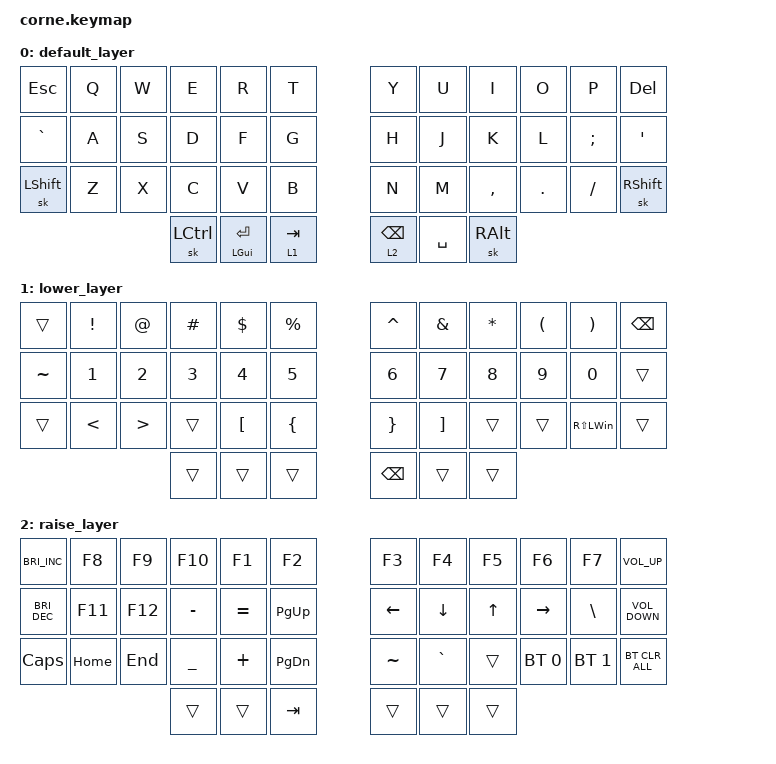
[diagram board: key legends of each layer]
/*
 * Copyright 2024 Michał Minarowski (@n3oney)
 * 
 * Originally created for QMK by Mark Stosberg (@markstos)
 * 
 * SPDX-License-Identifier: GPL-2.0-or-later
 */

#include <behaviors.dtsi>
#include <dt-bindings/zmk/bt.h>
#include <dt-bindings/zmk/keys.h>

/ {
    combos { compatible = "zmk,combos"; };

    keymap {
        compatible = "zmk,keymap";

        default_layer {
            bindings = <
&kp ESCAPE  &kp Q  &kp W  &kp E      &kp R               &kp T        &kp Y            &kp U      &kp I          &kp O    &kp P          &kp DELETE
&kp GRAVE   &kp A  &kp S  &kp D      &kp F               &kp G        &kp H            &kp J      &kp K          &kp L    &kp SEMICOLON  &kp SINGLE_QUOTE
&sk LSHFT   &kp Z  &kp X  &kp C      &kp V               &kp B        &kp N            &kp M      &kp COMMA      &kp DOT  &kp FSLH       &sk RIGHT_SHIFT
                          &sk LCTRL  &mt LEFT_GUI ENTER  &lt 1 TAB    &lt 2 BACKSPACE  &kp SPACE  &sk RIGHT_ALT
            >;
        };

        lower_layer {
            bindings = <
&trans     &kp EXCLAMATION  &kp AT_SIGN       &kp POUND     &kp DOLLAR        &kp PERCENT       &kp CARET        &kp AMPERSAND      &kp ASTERISK  &kp LEFT_PARENTHESIS  &kp RIGHT_PARENTHESIS  &kp BSPC
&kp TILDE  &kp NUMBER_1     &kp NUMBER_2      &kp NUMBER_3  &kp NUMBER_4      &kp NUMBER_5      &kp NUMBER_6     &kp NUMBER_7       &kp NUMBER_8  &kp NUMBER_9          &kp NUMBER_0           &trans
&trans     &kp LT           &kp GREATER_THAN  &trans        &kp LEFT_BRACKET  &kp LEFT_BRACE    &kp RIGHT_BRACE  &kp RIGHT_BRACKET  &trans        &trans                &kp RS(LEFT_WIN)       &trans
                                              &trans        &trans            &trans            &kp BACKSPACE    &trans             &trans
            >;
        };

        raise_layer {
            bindings = <
&kp C_BRIGHTNESS_INC  &kp F8    &kp F9   &kp F10         &kp F1     &kp F2         &kp F3     &kp F4     &kp F5        &kp F6        &kp F7         &kp C_VOLUME_UP
&kp C_BRIGHTNESS_DEC  &kp F11   &kp F12  &kp MINUS       &kp EQUAL  &kp PAGE_UP    &kp LEFT   &kp DOWN   &kp UP_ARROW  &kp RIGHT     &kp BACKSLASH  &kp C_VOLUME_DOWN
&kp CLCK              &kp HOME  &kp END  &kp UNDERSCORE  &kp PLUS   &kp PG_DN      &kp TILDE  &kp GRAVE  &trans        &bt BT_SEL 0  &bt BT_SEL 1   &bt BT_CLR_ALL
                                         &trans          &trans     &kp TAB        &trans     &trans     &trans
            >;
        };
    };
};
